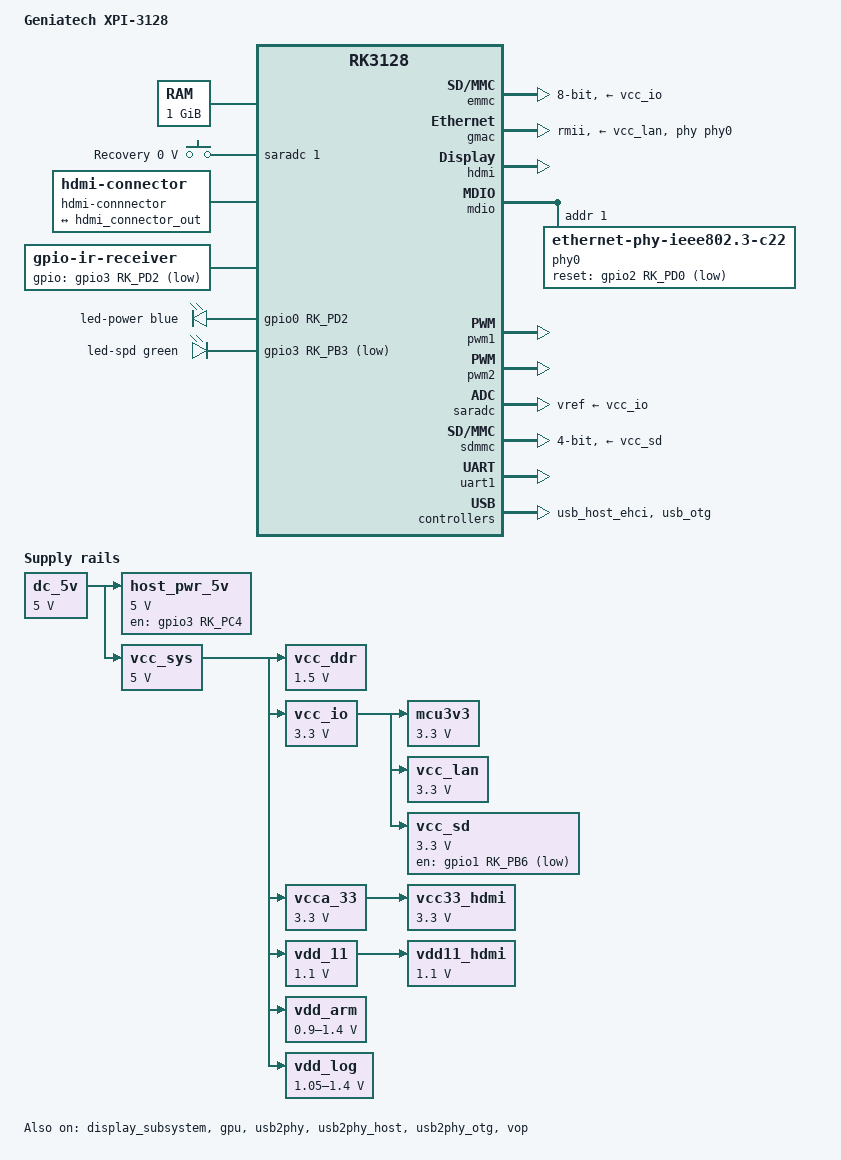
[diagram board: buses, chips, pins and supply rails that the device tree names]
// SPDX-License-Identifier: (GPL-2.0+ OR MIT)

/dts-v1/;

#include <dt-bindings/input/input.h>
#include <dt-bindings/leds/common.h>
#include "rk3128.dtsi"

/ {
	model = "Geniatech XPI-3128";
	compatible = "geniatech,xpi-3128", "rockchip,rk3128";

	aliases {
		ethernet0 = &gmac;
		mmc0 = &emmc;
		mmc1 = &sdmmc;
	};

	memory@60000000 {
		device_type = "memory";
		reg = <0x60000000 0x40000000>;
	};

	chosen {
		stdout-path = &uart1;
	};

	adc-keys {
		compatible = "adc-keys";
		io-channels = <&saradc 1>;
		io-channel-names = "buttons";
		keyup-threshold-microvolt = <3300000>;

		button-recovery {
			label = "Recovery";
			linux,code = <KEY_VENDOR>;
			press-threshold-microvolt = <0>;
		};
	};

	dc_5v: regulator-dc-5v {
		compatible = "regulator-fixed";
		regulator-name = "DC_5V";
		regulator-min-microvolt = <5000000>;
		regulator-max-microvolt = <5000000>;
		regulator-always-on;
		regulator-boot-on;
	};

	hdmi-connnector {
		compatible = "hdmi-connector";
		type = "a";

		port {
			hdmi_connector_in: endpoint {
				remote-endpoint = <&hdmi_connector_out>;
			};
		};
	};

	/*
	 * This is a vbus-supply, which also supplies the GL852G usb hub,
	 * thus has to be always-on
	 */
	host_pwr_5v: regulator-host-pwr-5v {
		compatible = "regulator-fixed";
		gpio = <&gpio3 RK_PC4 GPIO_ACTIVE_HIGH>;
		startup-delay-us = <1500>;
		regulator-name = "HOST_PWR_5V";
		regulator-min-microvolt = <5000000>;
		regulator-max-microvolt = <5000000>;
		vin-supply = <&dc_5v>;
		pinctrl-names = "default";
		pinctrl-0 = <&host_drv>;
		enable-active-high;
		regulator-always-on;
	};

	ir-receiver {
		compatible = "gpio-ir-receiver";
		gpios = <&gpio3 RK_PD2 GPIO_ACTIVE_LOW>;
		pinctrl-names = "default";
		pinctrl-0 = <&ir_int>;
	};

	leds {
		compatible = "gpio-leds";

		led-power {
			gpios = <&gpio0 RK_PD2 GPIO_ACTIVE_HIGH>;
			function = LED_FUNCTION_POWER;
			color = <LED_COLOR_ID_BLUE>;
			default-state = "on";
			pinctrl-names = "default";
			pinctrl-0 = <&power_led>;
		};

		led-spd {
			gpios = <&gpio3 RK_PB3 GPIO_ACTIVE_LOW>;
			function = LED_FUNCTION_LAN;
			color = <LED_COLOR_ID_GREEN>;
			/*
			 * currently not allowed to be set as per
			 * https://www.kernel.org/doc/Documentation/devicetree/bindings/leds/common.yaml
			 * and needs to set in userspace:
			 *
			 * linux,default-trigger = "netdev";
			 */
			pinctrl-names = "default";
			pinctrl-0 = <&spd_led>;
		};
	};

	mcu3v3: regulator-mcu3v3 {
		compatible = "regulator-fixed";
		regulator-name = "MCU3V3";
		regulator-min-microvolt = <3300000>;
		regulator-max-microvolt = <3300000>;
		vin-supply = <&vcc_io>;
		regulator-always-on;
		regulator-boot-on;
	};

	vcc_ddr: regulator-vcc-ddr {
		compatible = "regulator-fixed";
		regulator-name = "VCC_DDR";
		regulator-min-microvolt = <1500000>;
		regulator-max-microvolt = <1500000>;
		vin-supply = <&vcc_sys>;
		regulator-always-on;
		regulator-boot-on;
	};

	vcc_io: regulator-vcc-io {
		compatible = "regulator-fixed";
		regulator-name = "VCC_IO";
		regulator-min-microvolt = <3300000>;
		regulator-max-microvolt = <3300000>;
		vin-supply = <&vcc_sys>;
		regulator-always-on;
		regulator-boot-on;
	};

	vcc_lan: regulator-vcc-lan {
		compatible = "regulator-fixed";
		regulator-name = "VCC_LAN";
		regulator-min-microvolt = <3300000>;
		regulator-max-microvolt = <3300000>;
		vin-supply = <&vcc_io>;
		regulator-always-on;
		regulator-boot-on;
	};

	vcc_sd: regulator-vcc-sd {
		compatible = "regulator-fixed";
		gpio = <&gpio1 RK_PB6 GPIO_ACTIVE_LOW>;
		startup-delay-us = <500>;
		regulator-name = "VCC_SD";
		regulator-min-microvolt = <3300000>;
		regulator-max-microvolt = <3300000>;
		vin-supply = <&vcc_io>;
		pinctrl-names = "default";
		pinctrl-0 = <&sdmmc_pwren>;
	};

	vcc_sys: regulator-vcc-sys {
		compatible = "regulator-fixed";
		regulator-name = "VCC_SYS";
		regulator-min-microvolt = <5000000>;
		regulator-max-microvolt = <5000000>;
		vin-supply = <&dc_5v>;
		regulator-always-on;
		regulator-boot-on;
	};

	vcc33_hdmi: regulator-vcc33-hdmi {
		compatible = "regulator-fixed";
		regulator-name = "VCC33_HDMI";
		regulator-min-microvolt = <3300000>;
		regulator-max-microvolt = <3300000>;
		vin-supply = <&vcca_33>;
		regulator-always-on;
		regulator-boot-on;
	};

	vcca_33: regulator-vcca-33 {
		compatible = "regulator-fixed";
		regulator-name = "VCCA_33";
		regulator-min-microvolt = <3300000>;
		regulator-max-microvolt = <3300000>;
		vin-supply = <&vcc_sys>;
		regulator-always-on;
		regulator-boot-on;
	};

	vdd_11: regulator-vdd-11 {
		compatible = "regulator-fixed";
		regulator-name = "VDD_11";
		regulator-min-microvolt = <1100000>;
		regulator-max-microvolt = <1100000>;
		vin-supply = <&vcc_sys>;
		regulator-always-on;
		regulator-boot-on;
	};

	vdd11_hdmi: regulator-vdd11-hdmi {
		compatible = "regulator-fixed";
		regulator-name = "VDD11_HDMI";
		regulator-min-microvolt = <1100000>;
		regulator-max-microvolt = <1100000>;
		vin-supply = <&vdd_11>;
		regulator-always-on;
		regulator-boot-on;
	};

	vdd_arm: regulator-vdd-arm {
		compatible = "pwm-regulator";
		regulator-name = "VDD_ARM";
		pwms = <&pwm1 0 25000 1>;
		pwm-supply = <&vcc_sys>;
		regulator-min-microvolt = <900000>;
		regulator-max-microvolt = <1400000>;
		regulator-always-on;
		regulator-boot-on;
	};

	/*
	 * As per schematics vdd_log is minimum 900 mV, maximum 1400 mV.
	 * Since there are HW blocks in PD_LOGIC (which are all driven by
	 * this supply), that either do not have a driver at all or the
	 * driver does not implement regulator support we have to make
	 * sure here that the voltage never drops below 1050 mV.
	 */
	vdd_log: regulator-vdd-log {
		compatible = "pwm-regulator";
		regulator-name = "VDD_LOG";
		pwms = <&pwm2 0 25000 1>;
		pwm-dutycycle-range = <30 100>;
		pwm-supply = <&vcc_sys>;
		regulator-min-microvolt = <1050000>;
		regulator-max-microvolt = <1400000>;
		regulator-ramp-delay = <4000>;
		regulator-always-on;
		regulator-boot-on;
	};

};

&cpu0 {
	cpu-supply = <&vdd_arm>;
};

&display_subsystem {
	status = "okay";
};

&emmc {
	bus-width = <8>;
	vmmc-supply = <&vcc_io>;
	pinctrl-names = "default";
	pinctrl-0 = <&emmc_clk &emmc_cmd &emmc_bus8>;
	cap-mmc-highspeed;
	mmc-ddr-3_3v;
	no-sd;
	no-sdio;
	status = "okay";
};

&gmac {
	clock_in_out = "output";
	phy-supply = <&vcc_lan>;
	phy-mode = "rmii";
	phy-handle = <&phy0>;
	assigned-clocks = <&cru SCLK_MAC_SRC>;
	assigned-clock-rates= <50000000>;
	pinctrl-names = "default";
	pinctrl-0 = <&rmii_pins>;
	status = "okay";
};

&gpio0 {
	gpio-line-names = /* GPIO0 A0-A7 */
			  "", "", "HEADER_5", "HEADER_3",
			  "", "", "", "",
			  /* GPIO0 B0-B7 */
			  "HEADER_22", "HEADER_23", "", "HEADER_19",
			  "HEADER_26", "HEADER_21", "HEADER_24", "",
			  /* GPIO0 C0-C7 */
			  "", "HEADER_18", "", "",
			  "", "", "", "",
			  /* GPIO0 D0-D7 */
			  "HEADER_36", "", "", "",
			  "", "", "HEADER_13", "";
};

&gpio1 {
	gpio-line-names = /* GPIO1 A0-A7 */
			  "HEADER_7", "HEADER_35", "HEADER_33", "HEADER_37",
			  "HEADER_40", "HEADER_38", "", "",
			  /* GPIO1 B0-B7 */
			  "HEADER_11", "", "", "HEADER_29",
			  "HEADER_31", "", "", "",
			  /* GPIO1 C0-C7 */
			  "", "", "", "",
			  "", "", "", "",
			  /* GPIO1 D0-D7 */
			  "", "", "", "",
			  "", "", "", "";
};

&gpio2 {
	gpio-line-names = /* GPIO2 A0-A7 */
			  "", "", "", "",
			  "", "", "", "",
			  /* GPIO2 B0-B7 */
			  "", "", "", "",
			  "", "", "", "",
			  /* GPIO2 C0-C7 */
			  "", "", "", "",
			  "HEADER_27", "", "", "",
			  /* GPIO2 D0-D7 */
			  "", "", "HEADER_8", "HEADER_10",
			  "", "", "", "";
};

&gpio3 {
	gpio-line-names = /* GPIO3 A0-A7 */
			  "", "", "", "",
			  "", "", "", "",
			  /* GPIO3 B0-B7 */
			  "", "", "", "",
			  "", "", "", "",
			  /* GPIO3 C0-C7 */
			  "", "HEADER_32", "", "",
			  "", "", "", "HEADER_12",
			  /* GPIO3 D0-D7 */
			  "", "", "", "HEADER_15",
			  "", "", "", "";
};

&gpu {
	mali-supply = <&vdd_log>;
	status = "okay";
};

&hdmi {
	status = "okay";
};

&hdmi_out {
	hdmi_connector_out: endpoint {
		remote-endpoint = <&hdmi_connector_in>;
	};
};

&mdio {
	phy0: ethernet-phy@1 {
		compatible = "ethernet-phy-ieee802.3-c22";
		reg = <1>;
		max-speed = <100>;
		/* T2.2.4 min. 1 us */
		reset-assert-us = <10>;
		/* T2.2.1 + T2.2.2 + T2.2.3 min. 6.05 us */
		reset-deassert-us = <20>;
		reset-gpios = <&gpio2 RK_PD0 GPIO_ACTIVE_LOW>;
		pinctrl-names = "default";
		pinctrl-0 = <&dp83848c_rst>;
	};
};

&pinctrl {
	dp83848c {
		dp83848c_rst: dp83848c-rst {
			rockchip,pins = <2 RK_PD0 RK_FUNC_GPIO &pcfg_pull_none>;
		};
	};

	ir-receiver {
		ir_int: ir-int {
			rockchip,pins = <3 RK_PD2 RK_FUNC_GPIO &pcfg_pull_none>;
		};
	};

	leds {
		power_led: power-led {
			rockchip,pins = <0 RK_PD2 RK_FUNC_GPIO &pcfg_pull_none>;
		};

		spd_led: spd-led {
			rockchip,pins = <3 RK_PB3 RK_FUNC_GPIO &pcfg_pull_none>;
		};
	};

	usb2 {
		host_drv: host-drv {
			rockchip,pins = <3 RK_PC4 RK_FUNC_GPIO &pcfg_pull_none>;
		};
	};
};

&pwm1 {
	status = "okay";
};

&pwm2 {
	status = "okay";
};

&saradc {
	vref-supply = <&vcc_io>;
	status = "okay";
};

&sdmmc {
	bus-width = <4>;
	vmmc-supply = <&vcc_sd>;
	pinctrl-names = "default";
	pinctrl-0 = <&sdmmc_bus4 &sdmmc_clk &sdmmc_cmd &sdmmc_det>;
	disable-wp;
	cap-sd-highspeed;
	no-mmc;
	no-sdio;
	status = "okay";
};

&uart1 {
	status = "okay";
};

&usb_host_ehci {
	status = "okay";
};

&usb_otg {
	vusb_a-supply = <&vcc_io>;
	vusb_d-supply = <&vdd_11>;
	status = "okay";
};

&usb2phy {
	status = "okay";
};

&usb2phy_host {
	status = "okay";
};

&usb2phy_otg {
	status = "okay";
};

&vop {
	status = "okay";
};
